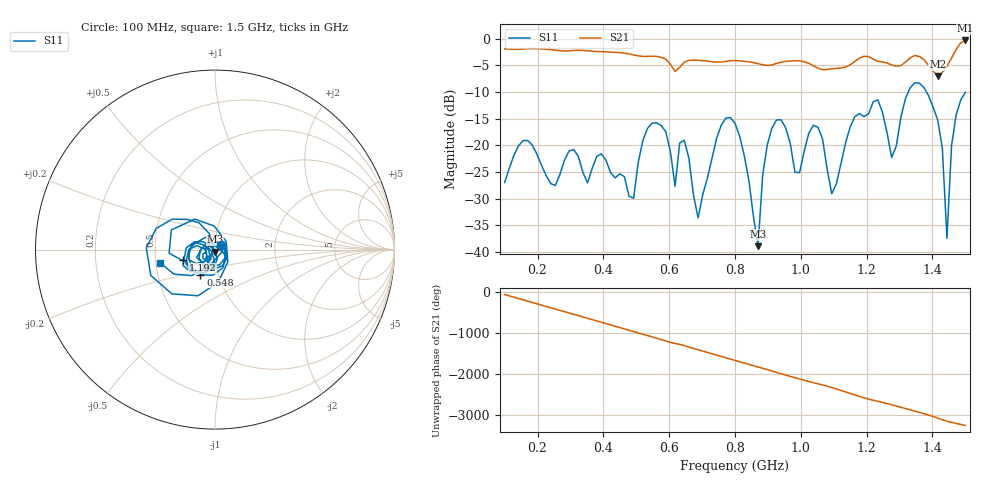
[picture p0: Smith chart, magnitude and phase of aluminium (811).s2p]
! NanoVNA-App
! Date: 2025-09-25 15:01:35
! Start: 100MHz Stop: 1,5GHz Points: 101
! S-Parameter data: F S11 S21 S12 S22
# Hz S RI R 50
!  Frequency  S11_Real  S11_Imag  S21_Real  S21_Imag  S12_Real  S12_Imag  S22_Real  S22_Imag
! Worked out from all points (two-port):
!   101 points, 100 MHz to 1.5 GHz, reference 50 ohm
!   highest |S21| = -0.36 dB at 1.5 GHz (marker M1); lowest = -7.0 dB at 1.416 GHz (marker M2)
!   |S21| within 3 dB of the highest: start of sweep to 563.1 MHz; 1.461 GHz to end of sweep (the widest 2 of 4)
!   lowest |S11| = -38.9 dB at 870 MHz (marker M3), VSWR 1.02, Z = 50.1 - j1.14 ohm
!   |S11| at or under -10 dB: start of sweep to 1.327 GHz; 1.382 GHz to end of sweep
!   S12 and S22 are empty: the file has one direction only
!   S11 on the Smith chart (normalised r, x): 100 MHz: 1.07, +0.06; 548 MHz: 0.82, -0.23; 1.192 GHz: 0.70, -0.08; 1.5 GHz: 0.53, -0.09
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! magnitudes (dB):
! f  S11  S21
! 100 MHz  -27.0  -1.9
! 156 MHz  -19.1  -2.0
! 338 MHz  -25.1  -2.2
! 492 MHz  -29.9  -3.1
! 548 MHz  -15.8  -3.3
! 576 MHz  -16.3  -3.5
! 618 MHz  -27.7  -6.1
! 646 MHz  -19.1  -4.4
! 688 MHz  -33.6  -4.1
! 800 MHz  -15.9  -4.1
! 870 MHz  -38.9  -4.7
! 912 MHz  -16.8  -5.0
! 996 MHz  -25.1  -4.2
! 1.038 GHz  -16.2  -5.1
! 1.094 GHz  -29.1  -5.7
! 1.192 GHz  -14.6  -3.3
! 1.276 GHz  -22.3  -5.0
! 1.346 GHz  -8.3  -3.2
! 1.416 GHz  -15.3  -7.0
! 1.444 GHz  -37.4  -5.2
! 1.458 GHz  -20.0  -3.7
! 1.5 GHz  -10.1  -0.4
